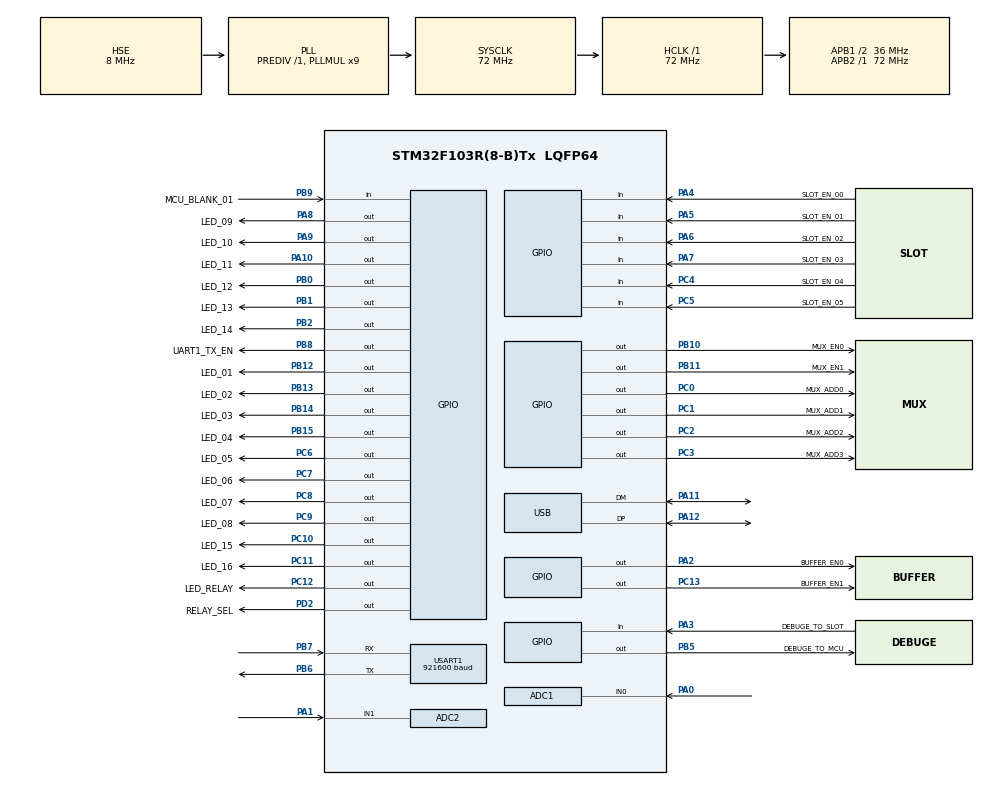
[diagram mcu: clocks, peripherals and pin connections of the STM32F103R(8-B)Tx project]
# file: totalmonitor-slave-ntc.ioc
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ADC1.Channel-2\#ChannelRegularConversion=ADC_CHANNEL_0
ADC1.ContinuousConvMode=DISABLE
ADC1.DataAlign=ADC_DATAALIGN_RIGHT
ADC1.DiscontinuousConvMode=DISABLE
ADC1.EnableAnalogWatchDog=false
ADC1.EnableRegularConversion=ENABLE
ADC1.ExternalTrigConv=ADC_SOFTWARE_START
ADC1.InjNumberOfConversion=0
ADC1.NbrOfConversion=1
ADC1.NbrOfConversionFlag=1
ADC1.Rank-2\#ChannelRegularConversion=1
ADC1.SamplingTime-2\#ChannelRegularConversion=ADC_SAMPLETIME_55CYCLES_5
ADC1.ScanConvMode=ADC_SCAN_DISABLE
ADC1.master=1
ADC2.Channel-0\#ChannelRegularConversion=ADC_CHANNEL_1
ADC2.ContinuousConvMode=DISABLE
ADC2.DataAlign=ADC_DATAALIGN_RIGHT
ADC2.DiscontinuousConvMode=DISABLE
ADC2.EnableAnalogWatchDog=false
ADC2.EnableRegularConversion=ENABLE
ADC2.ExternalTrigConv=ADC_SOFTWARE_START
ADC2.InjNumberOfConversion=0
ADC2.NbrOfConversion=1
ADC2.NbrOfConversionFlag=1
ADC2.Rank-0\#ChannelRegularConversion=1
ADC2.SamplingTime-0\#ChannelRegularConversion=ADC_SAMPLETIME_55CYCLES_5
ADC2.ScanConvMode=ADC_SCAN_DISABLE
Dma.Request0=USART1_RX
Dma.Request1=USART1_TX
Dma.USART1_RX.0.Direction=DMA_PERIPH_TO_MEMORY
Dma.USART1_RX.0.Instance=DMA1_Channel5
Dma.USART1_RX.0.MemDataAlignment=DMA_MDATAALIGN_BYTE
Dma.USART1_RX.0.MemInc=DMA_MINC_ENABLE
Dma.USART1_RX.0.Mode=DMA_CIRCULAR
Dma.USART1_RX.0.PeriphDataAlignment=DMA_PDATAALIGN_BYTE
Dma.USART1_RX.0.PeriphInc=DMA_PINC_DISABLE
Dma.USART1_RX.0.Priority=DMA_PRIORITY_MEDIUM
Dma.USART1_TX.1.Direction=DMA_MEMORY_TO_PERIPH
Dma.USART1_TX.1.Instance=DMA1_Channel4
Dma.USART1_TX.1.MemDataAlignment=DMA_MDATAALIGN_BYTE
Dma.USART1_TX.1.MemInc=DMA_MINC_ENABLE
Dma.USART1_TX.1.Mode=DMA_NORMAL
Dma.USART1_TX.1.PeriphDataAlignment=DMA_PDATAALIGN_BYTE
Dma.USART1_TX.1.PeriphInc=DMA_PINC_DISABLE
Dma.USART1_TX.1.Priority=DMA_PRIORITY_LOW
FREERTOS.BinarySemaphores01=myAdcBinarySem,Dynamic,NULL
FREERTOS.INCLUDE_vTaskDelayUntil=1
FREERTOS.Tasks01=JobTask,0,128,job_task,As weak,NULL,Static,JobTaskBuffer,JobTaskControlBlock;RoutineTask,0,128,routine_task,As weak,NULL,Static,RoutineTaskBuffer,RoutineTaskControlBlock;UartRxTask,0,128,uart_rx_task,As weak,NULL,Static,UartRxTaskBuffer,UartRxTaskControlBlock
FREERTOS.configUSE_COUNTING_SEMAPHORES=1
Mcu.Family=STM32F1
Mcu.Name=STM32F103R(8-B)Tx
Mcu.Package=LQFP64
NVIC.ADC1_2_IRQn=true\:7\:0\:true\:false\:true\:true\:true\:true
NVIC.DMA1_Channel4_IRQn=true\:5\:0\:false\:false\:true\:true\:false\:true
NVIC.DMA1_Channel5_IRQn=true\:5\:0\:false\:false\:true\:true\:false\:true
NVIC.PriorityGroup=NVIC_PRIORITYGROUP_4
NVIC.TIM1_UP_IRQn=true\:0\:0\:false\:false\:true\:false\:false\:true
NVIC.TimeBase=TIM1_UP_IRQn
NVIC.TimeBaseIP=TIM1
NVIC.USART1_IRQn=true\:6\:0\:true\:false\:true\:true\:true\:true
PA0-WKUP.Signal=ADCx_IN0
PA1.Signal=ADCx_IN1
PA10.GPIO_Label=LED_11
PA10.GPIO_ModeDefaultOutputPP=GPIO_MODE_OUTPUT_OD
PA10.GPIO_PuPd=GPIO_PULLUP
PA10.GPIO_Speed=GPIO_SPEED_FREQ_LOW
PA10.PinState=GPIO_PIN_SET
PA10.Signal=GPIO_Output
PA11.Mode=Device
PA11.Signal=USB_DM
PA12.Mode=Device
PA12.Signal=USB_DP
PA13.Mode=JTAG_5_pins
PA13.Signal=SYS_JTMS-SWDIO
PA14.Mode=JTAG_5_pins
PA14.Signal=SYS_JTCK-SWCLK
PA15.Mode=JTAG_5_pins
PA15.Signal=SYS_JTDI
PA2.GPIO_Label=BUFFER_EN0
PA2.GPIO_ModeDefaultOutputPP=GPIO_MODE_OUTPUT_OD
PA2.GPIO_PuPd=GPIO_NOPULL
PA2.GPIO_Speed=GPIO_SPEED_FREQ_HIGH
PA2.PinState=GPIO_PIN_RESET
PA2.Signal=GPIO_Output
PA3.GPIO_Label=DEBUGE_TO_SLOT
PA3.Signal=GPIO_Input
PA4.GPIO_Label=SLOT_EN_00
PA4.GPIO_Mode=GPIO_MODE_INPUT
PA4.GPIO_PuPd=GPIO_NOPULL
PA4.Signal=GPIO_Input
PA5.GPIO_Label=SLOT_EN_01
PA5.GPIO_Mode=GPIO_MODE_INPUT
PA5.GPIO_PuPd=GPIO_NOPULL
PA5.Signal=GPIO_Input
PA6.GPIO_Label=SLOT_EN_02
PA6.GPIO_Mode=GPIO_MODE_INPUT
PA6.GPIO_PuPd=GPIO_NOPULL
PA6.Signal=GPIO_Input
PA7.GPIO_Label=SLOT_EN_03
PA7.GPIO_Mode=GPIO_MODE_INPUT
PA7.GPIO_PuPd=GPIO_NOPULL
PA7.Signal=GPIO_Input
PA8.GPIO_Label=LED_09
PA8.GPIO_ModeDefaultOutputPP=GPIO_MODE_OUTPUT_OD
PA8.GPIO_PuPd=GPIO_PULLUP
PA8.GPIO_Speed=GPIO_SPEED_FREQ_LOW
PA8.PinState=GPIO_PIN_SET
PA8.Signal=GPIO_Output
PA9.GPIO_Label=LED_10
PA9.GPIO_ModeDefaultOutputPP=GPIO_MODE_OUTPUT_OD
PA9.GPIO_PuPd=GPIO_PULLUP
PA9.GPIO_Speed=GPIO_SPEED_FREQ_LOW
PA9.PinState=GPIO_PIN_SET
PA9.Signal=GPIO_Output
PB0.GPIO_Label=LED_12
PB0.GPIO_ModeDefaultOutputPP=GPIO_MODE_OUTPUT_OD
PB0.GPIO_PuPd=GPIO_PULLUP
PB0.GPIO_Speed=GPIO_SPEED_FREQ_LOW
PB0.PinState=GPIO_PIN_SET
PB0.Signal=GPIO_Output
PB1.GPIO_Label=LED_13
PB1.GPIO_ModeDefaultOutputPP=GPIO_MODE_OUTPUT_OD
PB1.GPIO_PuPd=GPIO_PULLUP
PB1.GPIO_Speed=GPIO_SPEED_FREQ_LOW
PB1.PinState=GPIO_PIN_SET
PB1.Signal=GPIO_Output
PB10.GPIO_Label=MUX_EN0
PB10.Signal=GPIO_Output
PB11.GPIO_Label=MUX_EN1
PB11.Signal=GPIO_Output
PB12.GPIO_Label=LED_01
PB12.GPIO_ModeDefaultOutputPP=GPIO_MODE_OUTPUT_OD
PB12.GPIO_PuPd=GPIO_PULLUP
PB12.Signal=GPIO_Output
PB13.GPIO_Label=LED_02
PB13.GPIO_ModeDefaultOutputPP=GPIO_MODE_OUTPUT_OD
PB13.GPIO_PuPd=GPIO_PULLUP
PB13.GPIO_Speed=GPIO_SPEED_FREQ_LOW
PB13.PinState=GPIO_PIN_SET
PB13.Signal=GPIO_Output
PB14.GPIO_Label=LED_03
PB14.GPIO_ModeDefaultOutputPP=GPIO_MODE_OUTPUT_OD
PB14.GPIO_PuPd=GPIO_PULLUP
PB14.GPIO_Speed=GPIO_SPEED_FREQ_LOW
PB14.PinState=GPIO_PIN_SET
PB14.Signal=GPIO_Output
PB15.GPIO_Label=LED_04
PB15.GPIO_ModeDefaultOutputPP=GPIO_MODE_OUTPUT_OD
PB15.GPIO_PuPd=GPIO_PULLUP
PB15.GPIO_Speed=GPIO_SPEED_FREQ_LOW
PB15.PinState=GPIO_PIN_SET
PB15.Signal=GPIO_Output
PB2.GPIO_Label=LED_14
PB2.GPIO_ModeDefaultOutputPP=GPIO_MODE_OUTPUT_OD
PB2.GPIO_PuPd=GPIO_PULLUP
PB2.GPIO_Speed=GPIO_SPEED_FREQ_LOW
PB2.PinState=GPIO_PIN_SET
PB2.Signal=GPIO_Output
PB3.Mode=JTAG_5_pins
PB3.Signal=SYS_JTDO-TRACESWO
PB4.Mode=JTAG_5_pins
PB4.Signal=SYS_NJTRST
PB5.GPIO_Label=DEBUGE_TO_MCU
PB5.Signal=GPIO_Output
PB6.Mode=Asynchronous
PB6.Signal=USART1_TX
PB7.Mode=Asynchronous
PB7.Signal=USART1_RX
PB8.GPIO_Label=UART1_TX_EN
PB8.Signal=GPIO_Output
PB9.GPIO_Label=MCU_BLANK_01
PB9.Signal=GPIO_Input
PC0.GPIO_Label=MUX_ADD0
PC0.Signal=GPIO_Output
PC1.GPIO_Label=MUX_ADD1
PC1.Signal=GPIO_Output
PC10.GPIO_Label=LED_15
PC10.GPIO_ModeDefaultOutputPP=GPIO_MODE_OUTPUT_OD
PC10.GPIO_PuPd=GPIO_PULLUP
PC10.GPIO_Speed=GPIO_SPEED_FREQ_LOW
PC10.PinState=GPIO_PIN_SET
PC10.Signal=GPIO_Output
PC11.GPIO_Label=LED_16
PC11.GPIO_ModeDefaultOutputPP=GPIO_MODE_OUTPUT_OD
PC11.GPIO_PuPd=GPIO_PULLUP
PC11.GPIO_Speed=GPIO_SPEED_FREQ_LOW
PC11.PinState=GPIO_PIN_SET
PC11.Signal=GPIO_Output
PC12.GPIO_Label=LED_RELAY
PC12.GPIO_ModeDefaultOutputPP=GPIO_MODE_OUTPUT_OD
PC12.GPIO_PuPd=GPIO_PULLUP
PC12.GPIO_Speed=GPIO_SPEED_FREQ_LOW
PC12.PinState=GPIO_PIN_SET
PC12.Signal=GPIO_Output
PC13-TAMPER-RTC.GPIO_Label=BUFFER_EN1
PC13-TAMPER-RTC.GPIO_ModeDefaultOutputPP=GPIO_MODE_OUTPUT_OD
PC13-TAMPER-RTC.GPIO_PuPd=GPIO_NOPULL
PC13-TAMPER-RTC.GPIO_Speed=GPIO_SPEED_FREQ_HIGH
PC13-TAMPER-RTC.PinState=GPIO_PIN_RESET
PC13-TAMPER-RTC.Signal=GPIO_Output
PC2.GPIO_Label=MUX_ADD2
PC2.Signal=GPIO_Output
PC3.GPIO_Label=MUX_ADD3
PC3.Signal=GPIO_Output
PC4.GPIO_Label=SLOT_EN_04
PC4.Signal=GPIO_Input
PC5.GPIO_Label=SLOT_EN_05
PC5.Signal=GPIO_Input
PC6.GPIO_Label=LED_05
PC6.GPIO_ModeDefaultOutputPP=GPIO_MODE_OUTPUT_OD
PC6.GPIO_PuPd=GPIO_PULLUP
PC6.GPIO_Speed=GPIO_SPEED_FREQ_LOW
PC6.PinState=GPIO_PIN_SET
PC6.Signal=GPIO_Output
PC7.GPIO_Label=LED_06
PC7.GPIO_ModeDefaultOutputPP=GPIO_MODE_OUTPUT_OD
PC7.GPIO_PuPd=GPIO_PULLUP
PC7.GPIO_Speed=GPIO_SPEED_FREQ_LOW
PC7.PinState=GPIO_PIN_SET
PC7.Signal=GPIO_Output
PC8.GPIO_Label=LED_07
PC8.GPIO_ModeDefaultOutputPP=GPIO_MODE_OUTPUT_OD
PC8.GPIO_PuPd=GPIO_PULLUP
PC8.GPIO_Speed=GPIO_SPEED_FREQ_LOW
PC8.PinState=GPIO_PIN_SET
PC8.Signal=GPIO_Output
PC9.GPIO_Label=LED_08
PC9.GPIO_ModeDefaultOutputPP=GPIO_MODE_OUTPUT_OD
PC9.GPIO_PuPd=GPIO_PULLUP
PC9.GPIO_Speed=GPIO_SPEED_FREQ_LOW
PC9.PinState=GPIO_PIN_SET
PC9.Signal=GPIO_Output
PD0-OSC_IN.Mode=HSE-External-Oscillator
PD0-OSC_IN.Signal=RCC_OSC_IN
PD1-OSC_OUT.Mode=HSE-External-Oscillator
PD1-OSC_OUT.Signal=RCC_OSC_OUT
PD2.GPIO_Label=RELAY_SEL
PD2.GPIO_ModeDefaultOutputPP=GPIO_MODE_OUTPUT_PP
PD2.GPIO_PuPd=GPIO_NOPULL
PD2.GPIO_Speed=GPIO_SPEED_FREQ_HIGH
PD2.PinState=GPIO_PIN_SET
PD2.Signal=GPIO_Output
ProjectManager.HeapSize=0x200
ProjectManager.StackSize=0x400
ProjectManager.TargetToolchain=Makefile
RCC.ADCPresc=RCC_ADCPCLK2_DIV6
RCC.AHBFreq_Value=72000000
RCC.APB1CLKDivider=RCC_HCLK_DIV2
RCC.APB1Freq_Value=36000000
RCC.APB1TimFreq_Value=72000000
RCC.APB2Freq_Value=72000000
RCC.APB2TimFreq_Value=72000000
RCC.HCLKFreq_Value=72000000
RCC.PLLMUL=RCC_PLL_MUL9
RCC.PLLSourceVirtual=RCC_PLLSOURCE_HSE
RCC.SYSCLKFreq_VALUE=72000000
RCC.SYSCLKSource=RCC_SYSCLKSOURCE_PLLCLK
RCC.USBFreq_Value=48000000
RCC.USBPrescaler=RCC_USBCLKSOURCE_PLL_DIV1_5
SH.ADCx_IN0.0=ADC1_IN0,IN0
SH.ADCx_IN1.0=ADC2_IN1,IN1
USART1.BaudRate=921600
USART1.VirtualMode=VM_ASYNC
VP_FREERTOS_VS_CMSIS_V1.Mode=CMSIS_V1
VP_SYS_VS_tim1.Mode=TIM1
board=custom

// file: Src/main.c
/* USER CODE BEGIN Header */
/**
  ******************************************************************************
  * @file           : main.c
  * @brief          : Main program body
  ******************************************************************************
  * @attention
  *
  * <h2><center>&copy; Copyright (c) 2019 STMicroelectronics.
  * All rights reserved.</center></h2>
  *
  * This software component is licensed by ST under Ultimate Liberty license
  * SLA0044, the "License"; You may not use this file except in compliance with
  * the License. You may obtain a copy of the License at:
  *                             www.st.com/SLA0044
  *
  ******************************************************************************
  */
/* USER CODE END Header */

#include "main.h"
#include "cmsis_os.h"

/* USER CODE BEGIN Includes */
#include "0_GlobalValue.h"
#include "0_GlobalDefine.h"
#include "0_StartDisplayTask.h"
#include "0_StartSensorTask.h"
#include "0_StartUartTask.h"
#include "0_Util.h"
#include "0_soonFlashMemory.h"
#include "job_task.h"
#include "routine_task.h"
#include "uart_rx_task.h"

/* USER CODE END Includes */

ADC_HandleTypeDef hadc1;
ADC_HandleTypeDef hadc2;

UART_HandleTypeDef huart1;
DMA_HandleTypeDef hdma_usart1_rx;
DMA_HandleTypeDef hdma_usart1_tx;

PCD_HandleTypeDef hpcd_USB_FS;

osThreadId JobTaskHandle;
uint32_t JobTaskBuffer[ 128 ];
osStaticThreadDef_t JobTaskControlBlock;
osThreadId RoutineTaskHandle;
uint32_t RoutineTaskBuffer[ 128 ];
osStaticThreadDef_t RoutineTaskControlBlock;
osThreadId UartRxTaskHandle;
uint32_t UartRxTaskBuffer[ 128 ];
osStaticThreadDef_t UartRxTaskControlBlock;
osSemaphoreId myAdcBinarySemHandle;
/* USER CODE BEGIN PV */
/* Private variables ---------------------------------------------------------*/
SYSTEM_STRUCT SysProperties;

/* USER CODE END PV */

void SystemClock_Config(void);
static void MX_GPIO_Init(void);
static void MX_DMA_Init(void);
static void MX_ADC1_Init(void);
static void MX_ADC2_Init(void);
static void MX_USART1_UART_Init(void);
static void MX_USB_PCD_Init(void);
void job_task(void const * argument);
void routine_task(void const * argument);
void uart_rx_task(void const * argument);

/* USER CODE BEGIN PFP */
/* Private function prototypes -----------------------------------------------*/

/* USER CODE END PFP */

int main(void)
{
  /* USER CODE BEGIN 1 */
	char      	number[5] = "1.000";
	//uint32_t	flashError = 0;
	uint32_t 	read = 0;

  /* USER CODE END 1 */

  /* MCU Configuration--------------------------------------------------------*/

  /* Reset of all peripherals, Initializes the Flash interface and the Systick. */
  HAL_Init();

  /* Configure the system clock */
  SystemClock_Config();

  /* Initialize all configured peripherals */
  MX_GPIO_Init();
  MX_DMA_Init();
  MX_ADC1_Init();
  MX_ADC2_Init();
  MX_USART1_UART_Init();
  MX_USB_PCD_Init();
  /* USER CODE BEGIN 2 */
  SysProperties.boardType[0] = SBT_NTC;
  SysProperties.boardEnable = ENABLE;

  for (int i = 0; i < 5; i++) {
      SysProperties.hwVersion[i].cChar = number[i];
      SysProperties.fwVersion[i].cChar = number[i];
  }
  /* HAL_GetUID(&SysProperties.uuid[0].u32_Value); */

  doRelayPlay(_OFF);

  for (int i = 0; i < 16; i++) {
      doLedDisplay(i, _LED_OFF); // LED Reset
  }

  read = ReadFlash(FLASH_SAVE_CHK);
  if (read != FLASH_SAVE_FLAG) //플래시에 기록이 없을경우
  {
      DoValueFormating();
      doFlashWriteRevision();
  } else // Flash 에 저장된 값이 없는경우
  {
      DoLoadFlash();
  }

  for (int i = 0; i < 16; i++) {
	  TestData.overTempFlag[i] = TM_NORMAL_TEMP;
	  TestData.displayModeFlag[i] = LDM_NORMAL_TEMP;
	  TestData.displayModeChangeCount[i] = 0;
  }

  // todo id는 자동으로 들어가야 한다. 밷플레이트를 변경하고 ntc보드에서
  // 칩셀렉트 핀을 4개로 만들어서 변경할 이다.
  HAL_GPIO_WritePin(BUFFER_EN0_GPIO_Port, BUFFER_EN0_Pin, GPIO_PIN_RESET);
  HAL_GPIO_WritePin(BUFFER_EN1_GPIO_Port, BUFFER_EN1_Pin, GPIO_PIN_RESET);

  // SysProperties.boardID = '3';	//0: 사용 설정 안됨, 1 ~ 4 슬롯으로 설정
  // 해야 함

  /* USER CODE END 2 */

  /* Create the semaphores(s) */
  /* definition and creation of myAdcBinarySem */
  osSemaphoreDef(myAdcBinarySem);
  myAdcBinarySemHandle = osSemaphoreCreate(osSemaphore(myAdcBinarySem), 1);

  /* Create the thread(s) */
  /* definition and creation of JobTask */
  osThreadStaticDef(JobTask, job_task, osPriorityHigh, 0, 128, JobTaskBuffer, &JobTaskControlBlock);
  JobTaskHandle = osThreadCreate(osThread(JobTask), NULL);

  /* definition and creation of RoutineTask */
  osThreadStaticDef(RoutineTask, routine_task, osPriorityNormal, 0, 128, RoutineTaskBuffer, &RoutineTaskControlBlock);
  RoutineTaskHandle = osThreadCreate(osThread(RoutineTask), NULL);

  /* definition and creation of UartRxTask */
  osThreadStaticDef(UartRxTask, uart_rx_task, osPriorityAboveNormal, 0, 128, UartRxTaskBuffer, &UartRxTaskControlBlock);
  UartRxTaskHandle = osThreadCreate(osThread(UartRxTask), NULL);

  /* Start scheduler */
  osKernelStart();

  /* We should never get here as control is now taken by the scheduler */

  /* Infinite loop */
	while (1)
	{

	}
}

void SystemClock_Config(void)
{
  RCC_OscInitTypeDef RCC_OscInitStruct = {0};
  RCC_ClkInitTypeDef RCC_ClkInitStruct = {0};
  RCC_PeriphCLKInitTypeDef PeriphClkInit = {0};

  /** Initializes the CPU, AHB and APB busses clocks
  */
  RCC_OscInitStruct.OscillatorType = RCC_OSCILLATORTYPE_HSE;
  RCC_OscInitStruct.HSEState = RCC_HSE_ON;
  RCC_OscInitStruct.HSEPredivValue = RCC_HSE_PREDIV_DIV1;
  RCC_OscInitStruct.HSIState = RCC_HSI_ON;
  RCC_OscInitStruct.PLL.PLLState = RCC_PLL_ON;
  RCC_OscInitStruct.PLL.PLLSource = RCC_PLLSOURCE_HSE;
  RCC_OscInitStruct.PLL.PLLMUL = RCC_PLL_MUL9;
  if (HAL_RCC_OscConfig(&RCC_OscInitStruct) != HAL_OK)
  {
    Error_Handler();
  }
  /** Initializes the CPU, AHB and APB busses clocks
  */
  RCC_ClkInitStruct.ClockType = RCC_CLOCKTYPE_HCLK|RCC_CLOCKTYPE_SYSCLK
                              |RCC_CLOCKTYPE_PCLK1|RCC_CLOCKTYPE_PCLK2;
  RCC_ClkInitStruct.SYSCLKSource = RCC_SYSCLKSOURCE_PLLCLK;
  RCC_ClkInitStruct.AHBCLKDivider = RCC_SYSCLK_DIV1;
  RCC_ClkInitStruct.APB1CLKDivider = RCC_HCLK_DIV2;
  RCC_ClkInitStruct.APB2CLKDivider = RCC_HCLK_DIV1;

  if (HAL_RCC_ClockConfig(&RCC_ClkInitStruct, FLASH_LATENCY_2) != HAL_OK)
  {
    Error_Handler();
  }
  PeriphClkInit.PeriphClockSelection = RCC_PERIPHCLK_ADC|RCC_PERIPHCLK_USB;
  PeriphClkInit.AdcClockSelection = RCC_ADCPCLK2_DIV6;
  PeriphClkInit.UsbClockSelection = RCC_USBCLKSOURCE_PLL_DIV1_5;
  if (HAL_RCCEx_PeriphCLKConfig(&PeriphClkInit) != HAL_OK)
  {
    Error_Handler();
  }
}

static void MX_ADC1_Init(void)
{

  ADC_ChannelConfTypeDef sConfig = {0};

  /** Common config
  */
  hadc1.Instance = ADC1;
  hadc1.Init.ScanConvMode = ADC_SCAN_DISABLE;
  hadc1.Init.ContinuousConvMode = DISABLE;
  hadc1.Init.DiscontinuousConvMode = DISABLE;
  hadc1.Init.ExternalTrigConv = ADC_SOFTWARE_START;
  hadc1.Init.DataAlign = ADC_DATAALIGN_RIGHT;
  hadc1.Init.NbrOfConversion = 1;
  if (HAL_ADC_Init(&hadc1) != HAL_OK)
  {
    Error_Handler();
  }
  /** Configure Regular Channel
  */
  sConfig.Channel = ADC_CHANNEL_0;
  sConfig.Rank = ADC_REGULAR_RANK_1;
  sConfig.SamplingTime = ADC_SAMPLETIME_55CYCLES_5;
  if (HAL_ADC_ConfigChannel(&hadc1, &sConfig) != HAL_OK)
  {
    Error_Handler();
  }

}

static void MX_ADC2_Init(void)
{

  ADC_ChannelConfTypeDef sConfig = {0};

  /** Common config
  */
  hadc2.Instance = ADC2;
  hadc2.Init.ScanConvMode = ADC_SCAN_DISABLE;
  hadc2.Init.ContinuousConvMode = DISABLE;
  hadc2.Init.DiscontinuousConvMode = DISABLE;
  hadc2.Init.ExternalTrigConv = ADC_SOFTWARE_START;
  hadc2.Init.DataAlign = ADC_DATAALIGN_RIGHT;
  hadc2.Init.NbrOfConversion = 1;
  if (HAL_ADC_Init(&hadc2) != HAL_OK)
  {
    Error_Handler();
  }
  /** Configure Regular Channel
  */
  sConfig.Channel = ADC_CHANNEL_1;
  sConfig.Rank = ADC_REGULAR_RANK_1;
  sConfig.SamplingTime = ADC_SAMPLETIME_55CYCLES_5;
  if (HAL_ADC_ConfigChannel(&hadc2, &sConfig) != HAL_OK)
  {
    Error_Handler();
  }

}

static void MX_USART1_UART_Init(void)
{

  huart1.Instance = USART1;
  huart1.Init.BaudRate = 921600;
  huart1.Init.WordLength = UART_WORDLENGTH_8B;
  huart1.Init.StopBits = UART_STOPBITS_1;
  huart1.Init.Parity = UART_PARITY_NONE;
  huart1.Init.Mode = UART_MODE_TX_RX;
  huart1.Init.HwFlowCtl = UART_HWCONTROL_NONE;
  huart1.Init.OverSampling = UART_OVERSAMPLING_16;
  if (HAL_UART_Init(&huart1) != HAL_OK)
  {
    Error_Handler();
  }
  /* USER CODE BEGIN USART1_Init 2 */
  USART_TypeDef *regs = huart1.Instance;
  SET_BIT(regs->CR1, USART_CR1_IDLEIE);
  /* USER CODE END USART1_Init 2 */

}

static void MX_USB_PCD_Init(void)
{

  hpcd_USB_FS.Instance = USB;
  hpcd_USB_FS.Init.dev_endpoints = 8;
  hpcd_USB_FS.Init.speed = PCD_SPEED_FULL;
  hpcd_USB_FS.Init.low_power_enable = DISABLE;
  hpcd_USB_FS.Init.lpm_enable = DISABLE;
  hpcd_USB_FS.Init.battery_charging_enable = DISABLE;
  if (HAL_PCD_Init(&hpcd_USB_FS) != HAL_OK)
  {
    Error_Handler();
  }

}

static void MX_DMA_Init(void)
{

  /* DMA controller clock enable */
  __HAL_RCC_DMA1_CLK_ENABLE();

  /* DMA interrupt init */
  /* DMA1_Channel4_IRQn interrupt configuration */
  HAL_NVIC_SetPriority(DMA1_Channel4_IRQn, 5, 0);
  HAL_NVIC_EnableIRQ(DMA1_Channel4_IRQn);
  /* DMA1_Channel5_IRQn interrupt configuration */
  HAL_NVIC_SetPriority(DMA1_Channel5_IRQn, 5, 0);
  HAL_NVIC_EnableIRQ(DMA1_Channel5_IRQn);

}

static void MX_GPIO_Init(void)
{
  GPIO_InitTypeDef GPIO_InitStruct = {0};

  /* GPIO Ports Clock Enable */
  __HAL_RCC_GPIOC_CLK_ENABLE();
  __HAL_RCC_GPIOD_CLK_ENABLE();
  __HAL_RCC_GPIOA_CLK_ENABLE();
  __HAL_RCC_GPIOB_CLK_ENABLE();

  /*Configure GPIO pin Output Level */
  HAL_GPIO_WritePin(GPIOC, BUFFER_EN1_Pin|MUX_ADD0_Pin|MUX_ADD1_Pin|MUX_ADD2_Pin
                          |MUX_ADD3_Pin, GPIO_PIN_RESET);

  /*Configure GPIO pin Output Level */
  HAL_GPIO_WritePin(BUFFER_EN0_GPIO_Port, BUFFER_EN0_Pin, GPIO_PIN_RESET);

  /*Configure GPIO pin Output Level */
  HAL_GPIO_WritePin(GPIOB, LED_12_Pin|LED_13_Pin|LED_14_Pin|LED_02_Pin
                          |LED_03_Pin|LED_04_Pin, GPIO_PIN_SET);

  /*Configure GPIO pin Output Level */
  HAL_GPIO_WritePin(GPIOB, MUX_EN0_Pin|MUX_EN1_Pin|LED_01_Pin|DEBUGE_TO_MCU_Pin
                          |UART1_TX_EN_Pin, GPIO_PIN_RESET);

  /*Configure GPIO pin Output Level */
  HAL_GPIO_WritePin(GPIOC, LED_05_Pin|LED_06_Pin|LED_07_Pin|LED_08_Pin
                          |LED_15_Pin|LED_16_Pin|LED_RELAY_Pin, GPIO_PIN_SET);

  /*Configure GPIO pin Output Level */
  HAL_GPIO_WritePin(GPIOA, LED_09_Pin|LED_10_Pin|LED_11_Pin, GPIO_PIN_SET);

  /*Configure GPIO pin Output Level */
  HAL_GPIO_WritePin(RELAY_SEL_GPIO_Port, RELAY_SEL_Pin, GPIO_PIN_SET);

  /*Configure GPIO pin : BUFFER_EN1_Pin */
  GPIO_InitStruct.Pin = BUFFER_EN1_Pin;
  GPIO_InitStruct.Mode = GPIO_MODE_OUTPUT_OD;
  GPIO_InitStruct.Pull = GPIO_NOPULL;
  GPIO_InitStruct.Speed = GPIO_SPEED_FREQ_HIGH;
  HAL_GPIO_Init(BUFFER_EN1_GPIO_Port, &GPIO_InitStruct);

  /*Configure GPIO pins : MUX_ADD0_Pin MUX_ADD1_Pin MUX_ADD2_Pin MUX_ADD3_Pin */
  GPIO_InitStruct.Pin = MUX_ADD0_Pin|MUX_ADD1_Pin|MUX_ADD2_Pin|MUX_ADD3_Pin;
  GPIO_InitStruct.Mode = GPIO_MODE_OUTPUT_PP;
  GPIO_InitStruct.Pull = GPIO_NOPULL;
  GPIO_InitStruct.Speed = GPIO_SPEED_FREQ_LOW;
  HAL_GPIO_Init(GPIOC, &GPIO_InitStruct);

  /*Configure GPIO pin : BUFFER_EN0_Pin */
  GPIO_InitStruct.Pin = BUFFER_EN0_Pin;
  GPIO_InitStruct.Mode = GPIO_MODE_OUTPUT_OD;
  GPIO_InitStruct.Pull = GPIO_NOPULL;
  GPIO_InitStruct.Speed = GPIO_SPEED_FREQ_HIGH;
  HAL_GPIO_Init(BUFFER_EN0_GPIO_Port, &GPIO_InitStruct);

  /*Configure GPIO pins : DEBUGE_TO_SLOT_Pin SLOT_EN_00_Pin SLOT_EN_01_Pin SLOT_EN_02_Pin
                           SLOT_EN_03_Pin */
  GPIO_InitStruct.Pin = DEBUGE_TO_SLOT_Pin|SLOT_EN_00_Pin|SLOT_EN_01_Pin|SLOT_EN_02_Pin
                          |SLOT_EN_03_Pin;
  GPIO_InitStruct.Mode = GPIO_MODE_INPUT;
  GPIO_InitStruct.Pull = GPIO_NOPULL;
  HAL_GPIO_Init(GPIOA, &GPIO_InitStruct);

  /*Configure GPIO pins : SLOT_EN_04_Pin SLOT_EN_05_Pin */
  GPIO_InitStruct.Pin = SLOT_EN_04_Pin|SLOT_EN_05_Pin;
  GPIO_InitStruct.Mode = GPIO_MODE_INPUT;
  GPIO_InitStruct.Pull = GPIO_NOPULL;
  HAL_GPIO_Init(GPIOC, &GPIO_InitStruct);

  /*Configure GPIO pins : LED_12_Pin LED_13_Pin LED_14_Pin LED_01_Pin
                           LED_02_Pin LED_03_Pin LED_04_Pin */
  GPIO_InitStruct.Pin = LED_12_Pin|LED_13_Pin|LED_14_Pin|LED_01_Pin
                          |LED_02_Pin|LED_03_Pin|LED_04_Pin;
  GPIO_InitStruct.Mode = GPIO_MODE_OUTPUT_OD;
  GPIO_InitStruct.Pull = GPIO_PULLUP;
  GPIO_InitStruct.Speed = GPIO_SPEED_FREQ_LOW;
  HAL_GPIO_Init(GPIOB, &GPIO_InitStruct);

  /*Configure GPIO pins : MUX_EN0_Pin MUX_EN1_Pin DEBUGE_TO_MCU_Pin UART1_TX_EN_Pin */
  GPIO_InitStruct.Pin = MUX_EN0_Pin|MUX_EN1_Pin|DEBUGE_TO_MCU_Pin|UART1_TX_EN_Pin;
  GPIO_InitStruct.Mode = GPIO_MODE_OUTPUT_PP;
  GPIO_InitStruct.Pull = GPIO_NOPULL;
  GPIO_InitStruct.Speed = GPIO_SPEED_FREQ_LOW;
  HAL_GPIO_Init(GPIOB, &GPIO_InitStruct);

  /*Configure GPIO pins : LED_05_Pin LED_06_Pin LED_07_Pin LED_08_Pin
                           LED_15_Pin LED_16_Pin LED_RELAY_Pin */
  GPIO_InitStruct.Pin = LED_05_Pin|LED_06_Pin|LED_07_Pin|LED_08_Pin
                          |LED_15_Pin|LED_16_Pin|LED_RELAY_Pin;
  GPIO_InitStruct.Mode = GPIO_MODE_OUTPUT_OD;
  GPIO_InitStruct.Pull = GPIO_PULLUP;
  GPIO_InitStruct.Speed = GPIO_SPEED_FREQ_LOW;
  HAL_GPIO_Init(GPIOC, &GPIO_InitStruct);

  /*Configure GPIO pins : LED_09_Pin LED_10_Pin LED_11_Pin */
  GPIO_InitStruct.Pin = LED_09_Pin|LED_10_Pin|LED_11_Pin;
  GPIO_InitStruct.Mode = GPIO_MODE_OUTPUT_OD;
  GPIO_InitStruct.Pull = GPIO_PULLUP;
  GPIO_InitStruct.Speed = GPIO_SPEED_FREQ_LOW;
  HAL_GPIO_Init(GPIOA, &GPIO_InitStruct);

  /*Configure GPIO pin : RELAY_SEL_Pin */
  GPIO_InitStruct.Pin = RELAY_SEL_Pin;
  GPIO_InitStruct.Mode = GPIO_MODE_OUTPUT_PP;
  GPIO_InitStruct.Pull = GPIO_NOPULL;
  GPIO_InitStruct.Speed = GPIO_SPEED_FREQ_HIGH;
  HAL_GPIO_Init(RELAY_SEL_GPIO_Port, &GPIO_InitStruct);

  /*Configure GPIO pin : MCU_BLANK_01_Pin */
  GPIO_InitStruct.Pin = MCU_BLANK_01_Pin;
  GPIO_InitStruct.Mode = GPIO_MODE_INPUT;
  GPIO_InitStruct.Pull = GPIO_NOPULL;
  HAL_GPIO_Init(MCU_BLANK_01_GPIO_Port, &GPIO_InitStruct);

}

__weak void job_task(void const * argument)
{
  for(;;)
  {
    osDelay(1);
  }
}

__weak void routine_task(void const * argument)
{
  for(;;)
  {
    osDelay(1);
  }
}

__weak void uart_rx_task(void const * argument)
{
  for(;;)
  {
    osDelay(1);
  }
}

void HAL_TIM_PeriodElapsedCallback(TIM_HandleTypeDef *htim)
{
  if (htim->Instance == TIM1) {
    HAL_IncTick();
  }
}

void Error_Handler(void)
{
  while(1)
  {
  }
}

/************************ (C) COPYRIGHT STMicroelectronics *****END OF FILE****/
